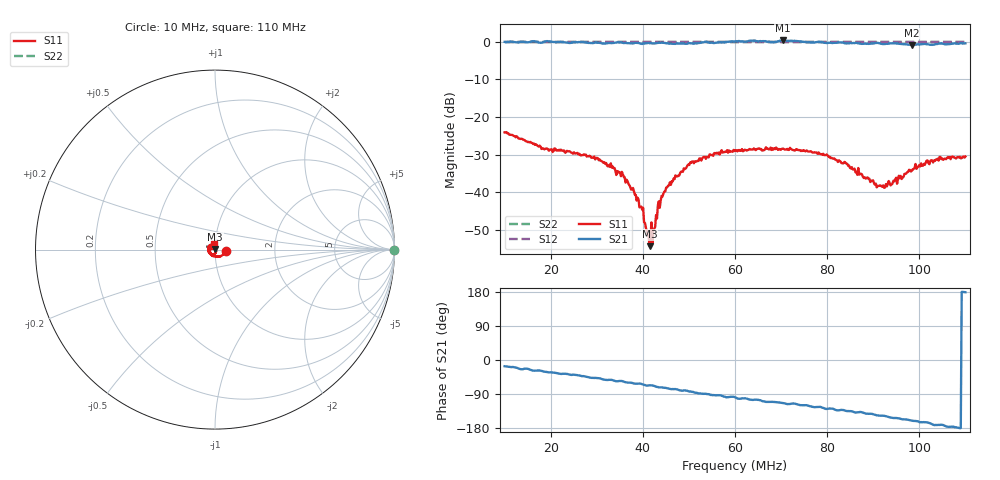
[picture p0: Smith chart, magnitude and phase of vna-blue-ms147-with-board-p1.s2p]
! Anritsu VNA Master:  Model: MS2034B/10/19/501
! SN:  1337062
! /bd0/ovro-jan-2016/vna-jan/vna-blue-ms147-with-board-p1.s2p
! Existing Calibration Information:
! TYPE:  Current Settings,  Active Cal Settings
! TIME:  01/13/2016 12:42:59 PM,  01/12/2016 05:57:47 PM
! INTERNAL TEMP:  44.0 C,  46.0 C
! # POINTS:  500,  500
! START FREQ:  10.000 MHz,  10.000 MHz
! STOP FREQ:  110.000 MHz,  110.000 MHz
! SOURCE POWER:  Low,  Low
! IFBW:  100 Hz,  1 kHz
! AVG FACTOR:  1 ,  3
! REF PLANE 1:  0 mm,  0 mm
! REF PLANE 2:  0 mm,  0 mm
! CAL TYPE:  1P2P S11,S21,  1P2P S11,S21
! CAL METHOD:  SOLT,  SOLT
! CAL LINE TYPE:  Coax,  Coax
! DUT PORT 1:  K-Conn(M),  K-Conn(M)
! DUT PORT 2:  N-Conn(M),  N-Conn(M)
! CAL STATUS:  OK: Accuracy High,  --
# GHZ S DB R 50.0
! FREQ.GHZ  S11DB  S11A  S21DB  S21A  S12DB  S12A  S22DB  S22A
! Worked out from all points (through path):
!   500 points, 10 MHz to 110 MHz, reference 50 ohm
!   highest |S21| = 0.34 dB at 70.32 MHz (marker M1); lowest = -0.8 dB at 98.38 MHz (marker M2)
!   group delay of S21, straight-line fit = 4.5 ns
!   lowest |S11| = -54.3 dB at 41.46 MHz (marker M3), VSWR 1.00, Z = 50.2 + j0.0869 ohm
!   |S11| at or under -10 dB: start of sweep to end of sweep
!   |S22| runs from 0.0 to 0.0 dB; largest |S21 - S12| = 2
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0.01  -24.09 -5.2  -0.04 -16.5  0.00 0.0  0.00 0.0
0.01841683  -28.40 -83.3  -0.09 -30.3  0.00 0.0  0.00 0.0
0.02683367  -30.11 -156.9  -0.07 -42.8  0.00 0.0  0.00 0.0
0.03024048  -30.99 178.1  -0.27 -48.0  0.00 0.0  0.00 0.0
0.0356513  -35.25 142.5  -0.31 -56.4  0.00 0.0  0.00 0.0
0.03805611  -39.69 124.4  -0.41 -62.1  0.00 0.0  0.00 0.0
0.03965932  -43.84 113.4  -0.53 -62.9  0.00 0.0  0.00 0.0
0.04106212  -51.45 59.2  -0.32 -67.3  0.00 0.0  0.00 0.0
0.04146293  -54.34 26.8  -0.40 -67.0  0.00 0.0  0.00 0.0
0.04246493  -49.71 -13.4  -0.48 -68.5  0.00 0.0  0.00 0.0
0.04346693  -42.42 -47.1  -0.20 -72.2  0.00 0.0  0.00 0.0
0.04547094  -38.26 -68.5  -0.43 -75.1  0.00 0.0  0.00 0.0
0.05028056  -32.09 -97.9  -0.41 -83.1  0.00 0.0  0.00 0.0
0.0601002  -28.83 -149.7  0.14 -98.6  0.00 0.0  0.00 0.0
0.07032064  -28.40 146.8  0.34 -113.3  0.00 0.0  0.00 0.0
0.07673347  -29.38 114.9  -0.17 -123.6  0.00 0.0  0.00 0.0
0.0839479  -32.10 90.3  -0.42 -133.8  0.00 0.0  0.00 0.0
0.09076152  -38.69 102.9  -0.33 -146.0  0.00 0.0  0.00 0.0
0.09336673  -37.02 130.5  -0.47 -150.8  0.00 0.0  0.00 0.0
0.09837675  -34.30 140.7  -0.83 -160.1  0.00 0.0  0.00 0.0
0.1041884  -31.60 124.6  -0.49 -171.2  0.00 0.0  0.00 0.0
0.11  -30.53 96.1  -0.42 178.9  0.00 0.0  0.00 0.0
